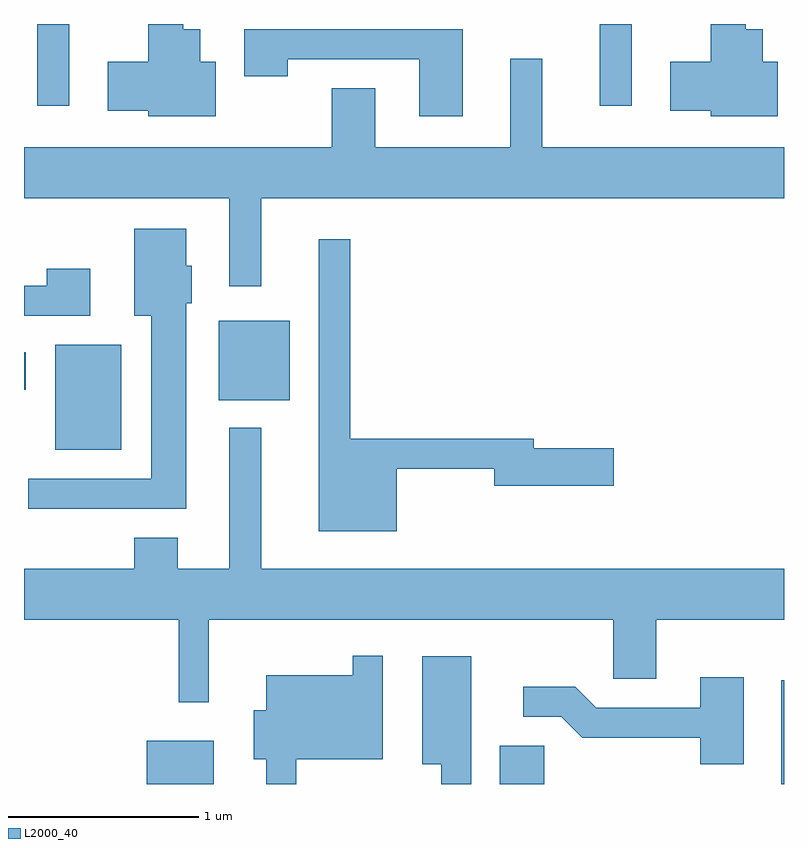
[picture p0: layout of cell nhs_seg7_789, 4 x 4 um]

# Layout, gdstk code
import gdstk
lib = gdstk.Library(unit=1e-6, precision=1e-09)
def R(c, l, rs):  # rectangles x0, y0, x1, y1
    for r in rs: c.add(gdstk.rectangle(r[:2], r[2:], *l))
def P(c, l, *ps):  # polygons
    for p in ps: c.add(gdstk.Polygon(p, *l))
L2000_40 = (2000, 40)

nhs_seg7_789 = lib.new_cell('nhs_seg7_789')
R(nhs_seg7_789, L2000_40, [(208.256,1802.252,208.609,1802.479), (210.116,1802.252,210.349,1802.454), (211.596,1802.252,211.611,1802.799), (207.776,1804.011,208.124,1804.564), (208.636,1804.271,209.009,1804.689), (207.611,1804.326,207.619,1804.524), (207.681,1805.823,207.849,1806.252), (210.641,1805.823,210.809,1806.252), (210.116,1806.251,210.489,1806.252)])
P(nhs_seg7_789, L2000_40, [(211.579,1806.054),(211.499,1806.054),(211.499,1806.224),(211.409,1806.224),(211.409,1806.252),(211.226,1806.252),(211.226,1806.054),(211.011,1806.054),(211.011,1805.796),(211.226,1805.796),(211.226,1805.766),(211.579,1805.766)],
  [(208.619,1806.054),(208.539,1806.054),(208.539,1806.224),(208.449,1806.224),(208.449,1806.252),(208.266,1806.252),(208.266,1806.054),(208.051,1806.054),(208.051,1805.796),(208.266,1805.796),(208.266,1805.766),(208.619,1805.766)],
  [(209.919,1806.224),(208.771,1806.224),(208.771,1805.976),(208.999,1805.976),(208.999,1806.066),(209.691,1806.066),(209.691,1805.766),(209.919,1805.766)],
  [(208.859,1805.336),(211.611,1805.336),(211.611,1805.604),(210.339,1805.604),(210.339,1806.068),(210.171,1806.068),(210.171,1805.604),(209.459,1805.604),(209.459,1805.914),(209.231,1805.914),(209.231,1805.604),(207.611,1805.604),(207.611,1805.336),(208.691,1805.336),(208.691,1804.873),(208.859,1804.873)],
  [(208.464,1804.781),(208.494,1804.781),(208.494,1804.979),(208.464,1804.979),(208.464,1805.174),(208.191,1805.174),(208.191,1804.716),(208.281,1804.716),(208.281,1803.859),(207.633,1803.859),(207.633,1803.701),(208.464,1803.701)],
  [(209.574,1803.911),(210.086,1803.911),(210.086,1803.821),(210.714,1803.821),(210.714,1804.019),(210.294,1804.019),(210.294,1804.069),(209.329,1804.069),(209.329,1805.118),(209.161,1805.118),(209.161,1803.581),(209.574,1803.581)],
  [(207.959,1804.964),(207.731,1804.964),(207.731,1804.874),(207.611,1804.874),(207.611,1804.716),(207.959,1804.716)],
  [(208.584,1803.116),(210.711,1803.116),(210.711,1802.806),(210.939,1802.806),(210.939,1803.116),(211.611,1803.116),(211.611,1803.384),(208.859,1803.384),(208.859,1804.128),(208.691,1804.128),(208.691,1803.384),(208.419,1803.384),(208.419,1803.549),(208.191,1803.549),(208.191,1803.384),(207.611,1803.384),(207.611,1803.116),(208.426,1803.116),(208.426,1802.683),(208.584,1802.683)],
  [(209.044,1802.381),(209.499,1802.381),(209.499,1802.928),(209.341,1802.928),(209.341,1802.824),(208.886,1802.824),(208.886,1802.639),(208.821,1802.639),(208.821,1802.381),(208.886,1802.381),(208.886,1802.252),(209.044,1802.252)],
  [(209.964,1802.924),(209.706,1802.924),(209.706,1802.356),(209.806,1802.356),(209.806,1802.252),(209.964,1802.252)],
  [(211.399,1802.814),(211.171,1802.814),(211.171,1802.654),(210.622,1802.654),(210.512,1802.764),(210.238,1802.764),(210.238,1802.606),(210.439,1802.606),(210.549,1802.496),(211.171,1802.496),(211.171,1802.356),(211.399,1802.356)])

lib.write_gds('nhs_seg7_789.gds')
